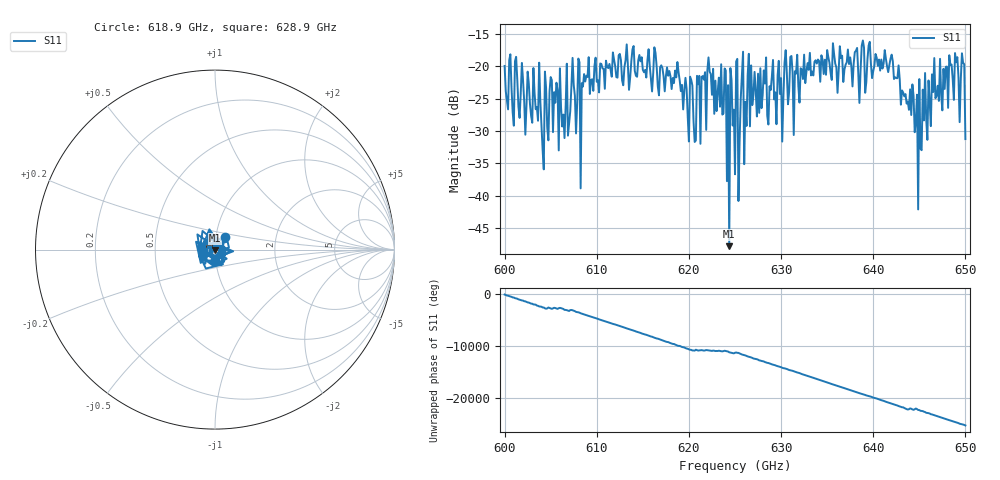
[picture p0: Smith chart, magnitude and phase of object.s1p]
!Created with skrf (http://scikit-rf.org).
# GHz S MA R 50.0
!freq magS11 angS11
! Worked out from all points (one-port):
!   401 points, 600 GHz to 650 GHz, reference 50 ohm
!   lowest |S11| = -47.8 dB at 624.4 GHz (marker M1), VSWR 1.01, Z = 49.9 - j0.399 ohm
!   |S11| at or under -10 dB: start of sweep to end of sweep
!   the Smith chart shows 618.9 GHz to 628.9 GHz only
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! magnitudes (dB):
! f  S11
! 600 GHz  -19.9
! 603.5 GHz  -26.3
! 604.1 GHz  -32.9
! 605.1 GHz  -22.1
! 606.2 GHz  -29.3
! 607.4 GHz  -18.7
! 608.5 GHz  -23.1
! 608.9 GHz  -21.5
! 612.5 GHz  -18.1
! 618.8 GHz  -19.3
! 620.5 GHz  -28.5
! 622.2 GHz  -20.9
! 623.8 GHz  -27.3
! 624.1 GHz  -37.8
! 624.4 GHz  -47.8
! 625 GHz  -36.7
! 625.2 GHz  -18.9
! 626.6 GHz  -29.3
! 628.8 GHz  -23.1
! 631.2 GHz  -21.0
! 637.5 GHz  -18.6
! 641.9 GHz  -18.8
! 643.8 GHz  -25.4
! 645 GHz  -22.0
! 646.6 GHz  -18.7
! 649 GHz  -19.4
! 649.8 GHz  -19.5
! 650 GHz  -31.3
